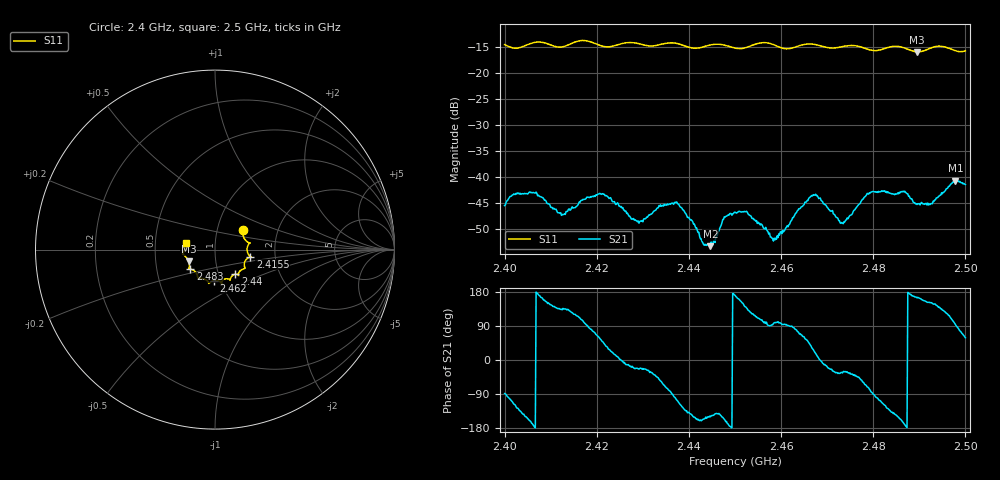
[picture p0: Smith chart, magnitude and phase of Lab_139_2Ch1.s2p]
# Hz S RI R 50
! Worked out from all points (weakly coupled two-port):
!   601 points, 2.4 GHz to 2.5 GHz, reference 50 ohm
!   highest |S21| = -40.78 dB at 2.4978 GHz (marker M1); lowest = -53.4 dB at 2.4447 GHz (marker M2)
!   lowest |S11| = -15.9 dB at 2.4895 GHz (marker M3), VSWR 1.38, Z = 37 - j4.99 ohm
!   |S11| at or under -10 dB: start of sweep to end of sweep
!   S12 and S22 are empty: the file has one direction only
!   S11 on the Smith chart (normalised r, x): 2.4 GHz: 1.33, +0.29; 2.4155 GHz: 1.49, -0.12; 2.44 GHz: 1.20, -0.34; 2.462 GHz: 0.93, -0.33; 2.483 GHz: 0.74, -0.17; 2.5 GHz: 0.72, +0.06
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2.4e9  0.1553 0.1066  0.000126 -0.00526  0 0  0 0
2.405833e9  0.1909 0.0379  -0.00684 -0.00168  0 0  0 0
2.412333e9  0.1787 -0.005  -0.00294 0.00305  0 0  0 0
2.4155e9  0.1974 -0.0393  -0.0024 0.00454  0 0  0 0
2.416667e9  0.2021 -0.0426  -0.00171 0.00566  0 0  0 0
2.421667e9  0.1701 -0.0602  0.00502 0.00452  0 0  0 0
2.429167e9  0.1606 -0.1064  0.00325 -0.00145  0 0  0 0
2.433333e9  0.1308 -0.1338  0.00341 -0.00367  0 0  0 0
2.437333e9  0.1313 -0.1429  -0.00152 -0.00551  0 0  0 0
2.44e9  0.1139 -0.1367  -0.003 -0.00271  0 0  0 0
2.444667e9  0.0845 -0.167  -0.00184 -0.00108  0 0  0 0
2.45e9  0.0648 -0.1624  -0.0045 0.000721  0 0  0 0
2.4585e9  0.0346 -0.1844  -0.000367 0.00252  0 0  0 0
2.462e9  -0.00495 -0.1733  7.58e-05 0.00363  0 0  0 0
2.466667e9  -0.0343 -0.188  0.00557 0.00353  0 0  0 0
2.473333e9  -0.083 -0.1604  0.00294 -0.00199  0 0  0 0
2.479e9  -0.1031 -0.134  0.00191 -0.00651  0 0  0 0
2.483e9  -0.1376 -0.1095  -0.00423 -0.00556  0 0  0 0
2.483333e9  -0.1401 -0.1092  -0.00446 -0.0054  0 0  0 0
2.4895e9  -0.1461 -0.0658  -0.00519 0.00148  0 0  0 0
2.497833e9  -0.1647 0.00305  -0.000594 0.00912  0 0  0 0
2.5e9  -0.1598 0.0391  0.00437 0.00717  0 0  0 0
